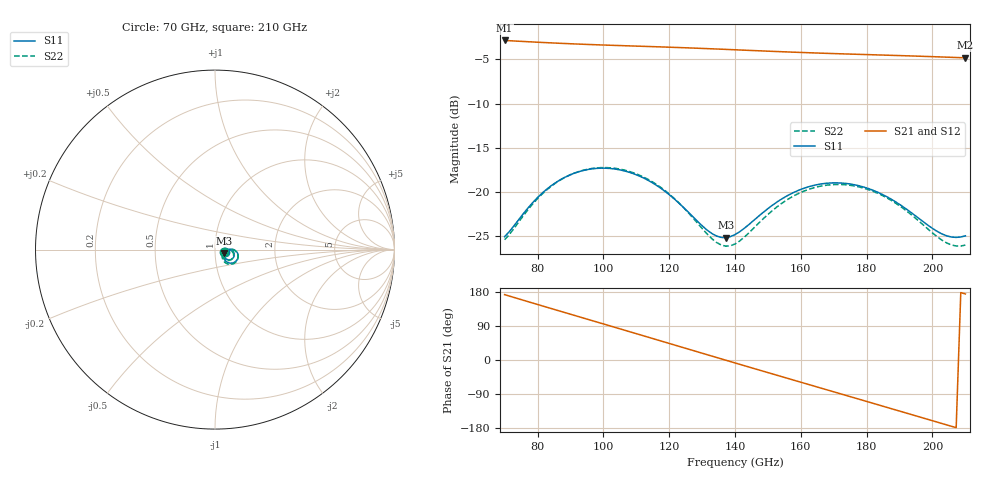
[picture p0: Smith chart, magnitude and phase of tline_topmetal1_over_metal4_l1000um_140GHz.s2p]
#  GHZ S DB R 50
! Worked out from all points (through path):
!   101 points, 70 GHz to 210 GHz, reference 50 ohm
!   highest |S21| = -2.85 dB at 70 GHz (marker M1); lowest = -4.8 dB at 210 GHz (marker M2)
!   group delay of S21, straight-line fit = 7.1 ps
!   lowest |S11| = -25.2 dB at 137.2 GHz (marker M3), VSWR 1.12, Z = 55.3 - j2.25 ohm
!   |S11| at or under -10 dB: start of sweep to end of sweep
!   |S22| runs from -26.2 to -17.3 dB; largest |S21 - S12| = 7.9e-14
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70  -25.10 -14.3  -2.85 172.5  -2.85 172.5  -25.44 -16.4
75.6  -22.53 0.1  -2.96 157.9  -2.96 157.9  -22.76 -0.9
82.6  -19.77 0.3  -3.10 139.8  -3.10 139.8  -19.86 -0.7
88.2  -18.39 -5.3  -3.19 125.4  -3.19 125.4  -18.40 -6.5
93.8  -17.60 -12.7  -3.28 111.1  -3.28 111.1  -17.57 -14.4
99.4  -17.33 -21.0  -3.36 96.7  -3.36 96.7  -17.27 -23.0
105  -17.52 -29.3  -3.43 82.4  -3.43 82.4  -17.43 -31.8
110.6  -18.17 -37.0  -3.50 68.0  -3.50 68.0  -18.06 -40.2
117.6  -19.65 -44.5  -3.58 49.9  -3.58 49.9  -19.55 -48.8
127.4  -22.91 -45.0  -3.71 24.7  -3.71 24.7  -23.05 -51.8
133  -24.75 -34.5  -3.80 10.3  -3.80 10.3  -25.33 -42.0
137.2  -25.20 -21.6  -3.86 -0.5  -3.86 -0.5  -26.17 -27.5
140  -24.86 -13.4  -3.91 -7.7  -3.91 -7.7  -25.93 -17.3
151.2  -21.58 -1.4  -4.08 -36.3  -4.08 -36.3  -22.19 -1.7
158.2  -20.02 -5.7  -4.18 -54.1  -4.18 -54.1  -20.41 -6.1
163.8  -19.29 -11.7  -4.26 -68.3  -4.26 -68.3  -19.57 -12.5
175  -19.13 -25.7  -4.40 -96.7  -4.40 -96.7  -19.27 -27.6
180.6  -19.65 -32.2  -4.46 -110.9  -4.46 -110.9  -19.77 -34.8
187.6  -20.88 -38.3  -4.54 -128.7  -4.54 -128.7  -21.01 -41.9
198.8  -23.85 -36.7  -4.67 -157.2  -4.67 -157.2  -24.29 -42.3
204.4  -25.01 -27.0  -4.74 -171.5  -4.74 -171.5  -25.83 -32.4
210  -25.00 -14.3  -4.82 174.3  -4.82 174.3  -26.05 -17.3
